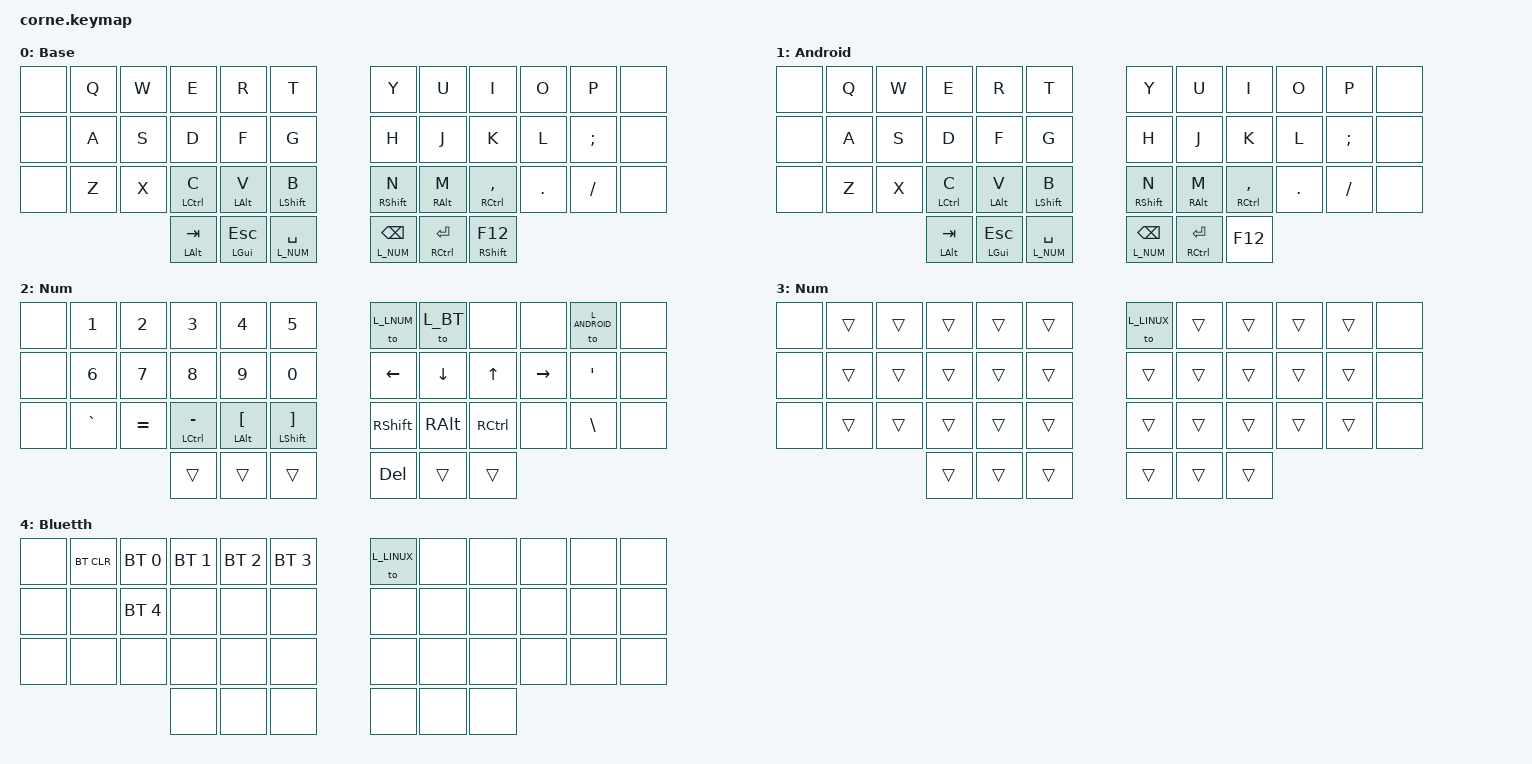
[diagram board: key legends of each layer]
/*
 * Copyright (c) 2020 The ZMK Contributors
 *
 * SPDX-License-Identifier: MIT
 */

#include <behaviors.dtsi>
#include <dt-bindings/zmk/keys.h>
#include <dt-bindings/zmk/bt.h>

#define L_LINUX 0
#define L_ANDROID 1
#define L_NUM 2
#define L_LNUM 3
#define L_BT 4

/ {
        behaviors {
                hm: homerow_mods {
                        compatible = "zmk,behavior-hold-tap";
                        #binding-cells = <2>;
                        flavor = "tap-preferred";
                        tapping-term-ms = <200>;
                        quick-tap-ms = <200>;
						require-prior-idle-ms = <125>;
                        bindings = <&kp>, <&kp>;
                };
        };

        keymap {
                compatible = "zmk,keymap";

                linux {
					display-name = "Base";
                        bindings = <
&none  &kp Q  &kp W  &kp E       &kp R       &kp T           &kp Y        &kp U       &kp I           &kp O    &kp P     &none
&none  &kp A  &kp S  &kp D       &kp F       &kp G           &kp H        &kp J       &kp K           &kp L    &kp SEMI  &none
&none  &kp Z  &kp X  &hm LCTL C  &hm LALT V  &hm LSHFT B     &hm RSHFT N  &hm RALT M  &hm RCTL COMMA  &kp DOT  &kp FSLH  &none
                &mt LALT TAB  &mt LGUI ESC  &lt L_NUM SPACE   &lt L_NUM BSPC &mt RCTL RET &mt RSHFT F12
                        >;
                };
                android {
					display-name = "Android";
                        bindings = <
&none  &kp Q  &kp W  &kp E       &kp R       &kp T           &kp Y        &kp U       &kp I           &kp O    &kp P     &none
&none  &kp A  &kp S  &kp D       &kp F       &kp G           &kp H        &kp J       &kp K           &kp L    &kp SEMI  &none
&none  &kp Z  &kp X  &hm LCTL C  &hm LALT V  &hm LSHFT B     &hm RSHFT N  &hm RALT M  &hm RCTL COMMA  &kp DOT  &kp FSLH  &none
                &mt LALT TAB  &mt LGUI ESC  &lt L_NUM SPACE   &lt L_NUM BSPC &mt RCTL RET &kp F12
                        >;
                };
                num {
					display-name = "Num";
                        bindings = <
&none &kp N1     &kp N2     &kp N3          &kp N4         &kp N5          &to L_LNUM  &to L_BT  &none     &none      &to L_ANDROID  &none
&none &kp N6     &kp N7     &kp N8          &kp N9         &kp N0          &kp LEFT    &kp DOWN  &kp UP    &kp RIGHT  &kp SQT   &none
&none &kp GRAVE  &kp EQUAL  &hm LCTL MINUS  &hm LALT LBKT  &hm LSHFT RBKT  &kp RSHFT   &kp RALT  &kp RCTL  &none      &kp BSLH  &none
                 &trans  &trans  &trans      &kp DEL  &trans   &trans
                        >;
                };
                num_lock {
					display-name = "Num";
                        bindings = <
&none &trans &trans &trans &trans &trans    &to L_LINUX  &trans &trans &trans &trans &none
&none &trans &trans &trans &trans &trans    &trans       &trans &trans &trans &trans &none
&none &trans &trans &trans &trans &trans    &trans       &trans &trans &trans &trans &none
                 &trans  &trans  &trans      &trans &trans   &trans
                        >;
                };
                bluetooth {
					display-name = "Bluetth";
                        bindings = <
&none &bt BT_CLR  &bt BT_SEL 0  &bt BT_SEL 1  &bt BT_SEL 2  &bt BT_SEL 3    &to L_LINUX  &none &none &none &none &none
&none &none       &bt BT_SEL 4  &none         &none         &none           &none        &none &none &none &none &none
&none &none       &none         &none         &none         &none           &none        &none &none &none &none &none
                 &none  &none  &none      &none  &none   &none
                        >;
                };

        };
};
